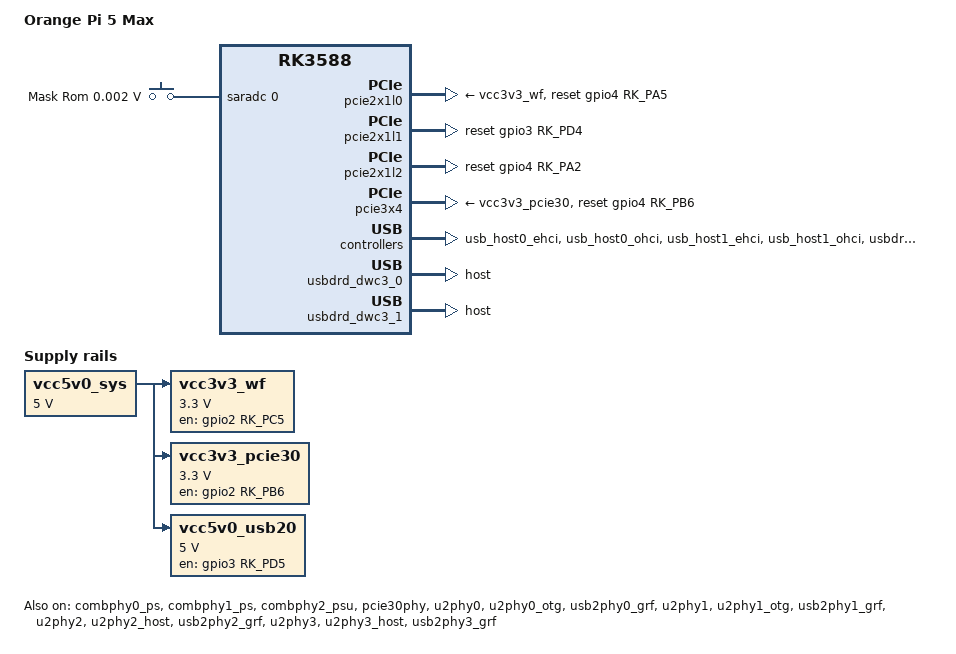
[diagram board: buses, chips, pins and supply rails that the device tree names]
// SPDX-License-Identifier: (GPL-2.0+ OR MIT)
/*
 * Copyright (c) 2021 Rockchip Electronics Co., Ltd
 *
 */

/dts-v1/;
#include "rk3588.dtsi"
#include "rk3588-u-boot.dtsi"
#include <dt-bindings/input/input.h>

/ {
	model = "Orange Pi 5 Max";
	compatible = "xunlong,orangepi-5-max", "rockchip,rk3588";

	adc-keys {
		compatible = "adc-keys";
		io-channels = <&saradc 0>;
		io-channel-names = "buttons";
		keyup-threshold-microvolt = <1800000>;
		poll-interval = <100>;

		button-maskrom {
			label = "Mask Rom";
			linux,code = <KEY_SETUP>;
			press-threshold-microvolt = <2000>;
		};
	};

	vcc5v0_sys: vcc5v0-sys {
		u-boot,dm-pre-reloc;
		compatible = "regulator-fixed";
		regulator-name = "vcc5v0_sys";
		regulator-always-on;
		regulator-boot-on;
		regulator-min-microvolt = <5000000>;
		regulator-max-microvolt = <5000000>;
	};

	vcc3v3_wf: vcc3v3-wf-regulator {
		u-boot,dm-pre-reloc;
		compatible = "regulator-fixed";
		enable-active-high;
		gpios = <&gpio2 RK_PC5 GPIO_ACTIVE_HIGH>;
		regulator-name = "vcc3v3_wf";
		regulator-min-microvolt = <3300000>;
		regulator-max-microvolt = <3300000>;
		startup-delay-us = <50000>;
		vin-supply = <&vcc5v0_sys>;
	};

	vcc3v3_pcie30: vcc3v3-pcie30-regulator {
		u-boot,dm-pre-reloc;
		compatible = "regulator-fixed";
		enable-active-high;
		gpios = <&gpio2 RK_PB6 GPIO_ACTIVE_HIGH>;
		regulator-name = "vcc3v3_pcie30";
		regulator-min-microvolt = <3300000>;
		regulator-max-microvolt = <3300000>;
		startup-delay-us = <5000>;
		vin-supply = <&vcc5v0_sys>;
	};

	vcc5v0_usb20: vcc5v0-usb20-regulator {
		u-boot,dm-pre-reloc;
		compatible = "regulator-fixed";
		enable-active-high;
		gpio = <&gpio3 RK_PD5 GPIO_ACTIVE_HIGH>;
		pinctrl-names = "default";
		pinctrl-0 = <&vcc5v0_usb20_en>;
		regulator-name = "vcc5v0_usb20";
		regulator-min-microvolt = <5000000>;
		regulator-max-microvolt = <5000000>;
		vin-supply = <&vcc5v0_sys>;
	};
};

&combphy0_ps {
	u-boot,dm-pre-reloc;
	status = "okay";
};

&combphy1_ps {
	u-boot,dm-pre-reloc;
	status = "okay";
};

&combphy2_psu {
	u-boot,dm-pre-reloc;
	status = "okay";
};

/* phy1 - M.KEY socket */
&pcie2x1l0 {
	u-boot,dm-pre-reloc;
	reset-gpios = <&gpio4 RK_PA5 GPIO_ACTIVE_HIGH>;
	vpcie3v3-supply = <&vcc3v3_wf>;
	status = "okay";
};

/* phy2 - right ethernet port */
&pcie2x1l1 {
	u-boot,dm-pre-reloc;
	reset-gpios = <&gpio3 RK_PD4 GPIO_ACTIVE_HIGH>;
	status = "okay";
};

/* phy0 - left ethernet port */
&pcie2x1l2 {
	u-boot,dm-pre-reloc;
	reset-gpios = <&gpio4 RK_PA2 GPIO_ACTIVE_HIGH>;
	status = "okay";
};

&pcie30phy {
	u-boot,dm-pre-reloc;
	status = "okay";
};

&pcie3x4 {
	u-boot,dm-pre-reloc;
	reset-gpios = <&gpio4 RK_PB6 GPIO_ACTIVE_HIGH>;
	vpcie3v3-supply = <&vcc3v3_pcie30>;
	status = "okay";
};

&u2phy0 {
	u-boot,dm-pre-reloc;
	status = "okay";
};

&u2phy0_otg {
	u-boot,dm-pre-reloc;
	status = "okay";
};

&usb2phy0_grf {
	u-boot,dm-pre-reloc;
	status = "okay";
};

&u2phy1 {
	u-boot,dm-pre-reloc;
	status = "okay";
};

&u2phy1_otg {
	u-boot,dm-pre-reloc;
	phy-supply = <&vcc5v0_usb20>;
	status = "okay";
};

&usb2phy1_grf {
	u-boot,dm-pre-reloc;
	status = "okay";
};

&u2phy2 {
	u-boot,dm-pre-reloc;
	status = "okay";
};

&u2phy2_host {
	u-boot,dm-pre-reloc;
	phy-supply = <&vcc5v0_usb20>;
	status = "okay";
};

&usb2phy2_grf {
	u-boot,dm-pre-reloc;
	status = "okay";
};

&u2phy3 {
	u-boot,dm-pre-reloc;
	status = "okay";
};

&u2phy3_host {
	u-boot,dm-pre-reloc;
	phy-supply = <&vcc5v0_usb20>;
	status = "okay";
};

&usb2phy3_grf {
	u-boot,dm-pre-reloc;
	status = "okay";
};

&usb_host0_ehci {
	u-boot,dm-pre-reloc;
	status = "okay";
};

&usb_host0_ohci {
	u-boot,dm-pre-reloc;
	status = "okay";
};

&usb_host1_ehci {
	u-boot,dm-pre-reloc;
	status = "okay";
};

&usb_host1_ohci {
	u-boot,dm-pre-reloc;
	status = "okay";
};

&usbdrd3_0 {
	u-boot,dm-pre-reloc;
	status = "okay";
};

&usbdrd_dwc3_0 {
	u-boot,dm-pre-reloc;
	dr_mode = "host";
	status = "okay";
};

&usbdrd3_1 {
	u-boot,dm-pre-reloc;
	status = "okay";
};

&usbdrd_dwc3_1 {
	u-boot,dm-pre-reloc;
	dr_mode = "host";
	status = "okay";
};

&pinctrl {
	usb {
		u-boot,dm-pre-reloc;

		vcc5v0_usb20_en: vcc5v0-usb20-en {
			u-boot,dm-pre-reloc;
			rockchip,pins = <3 RK_PD5 RK_FUNC_GPIO &pcfg_pull_none>;
		};
	};
};
